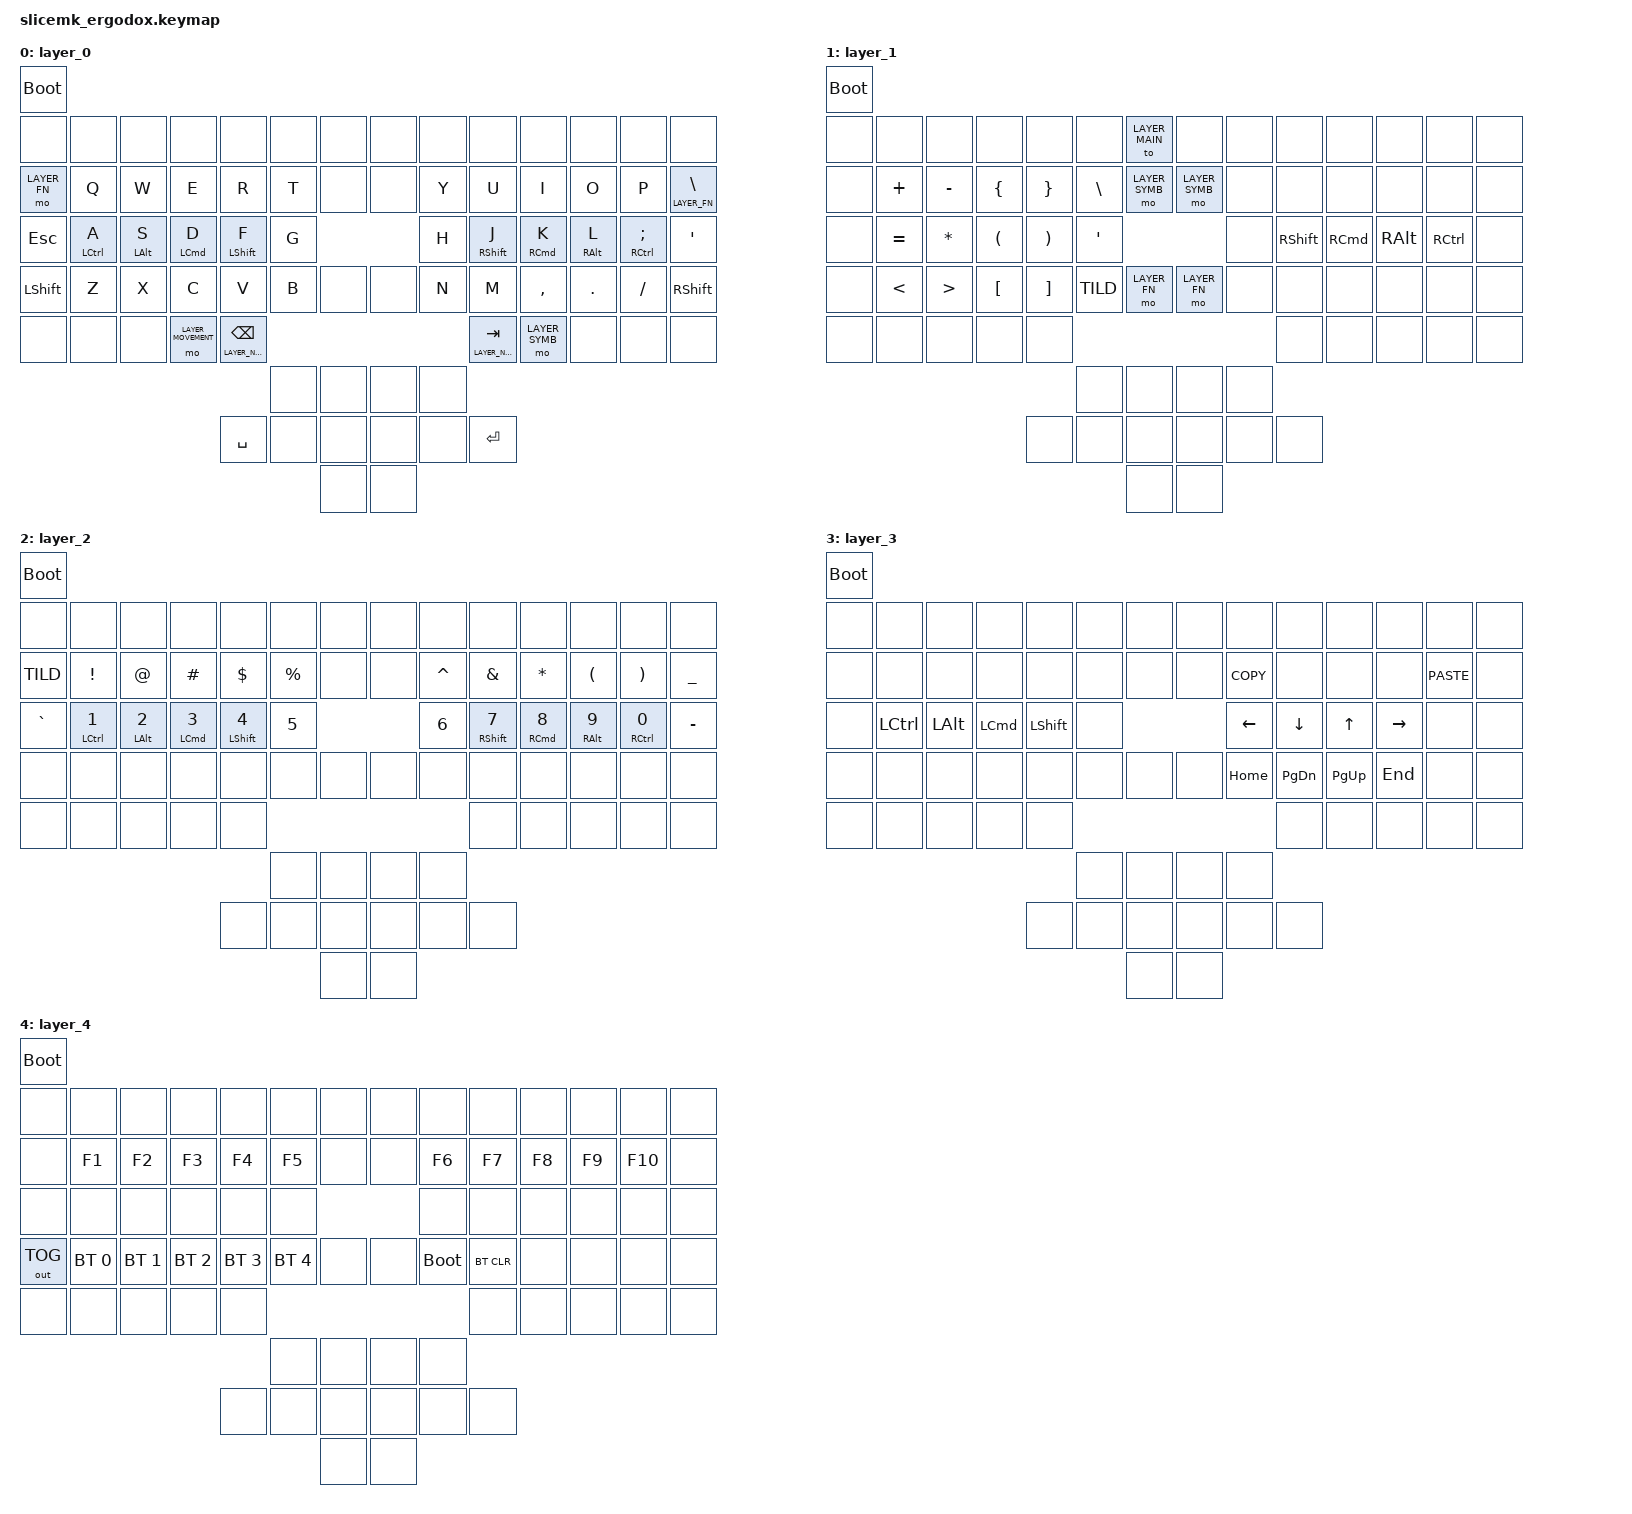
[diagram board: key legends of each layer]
#include <behaviors.dtsi>
#include <dt-bindings/zmk/bt.h>
#include <dt-bindings/zmk/keys.h>
#include <dt-bindings/zmk/outputs.h>
#include <dt-bindings/zmk/rgb.h>

#define LAYER_MAIN 0
#define LAYER_SYMB 1
#define LAYER_NUMROW 2
#define LAYER_MOVEMENT 3
#define LAYER_FN 4

&mt {
	tapping-term-ms = <600>;
	flavor = "balanced";
};

/ {
	keymap {
		compatible = "zmk,keymap";
		layer_0 {
			bindings = <
				&bootloader
				&none          &none              &none          &none              &none                 &none &none &none &none &none                &none               &none           &none                       &none
				&mo LAYER_FN   &kp Q              &kp W          &kp E              &kp R                 &kp T &none &none &kp Y &kp U                &kp I               &kp O           &kp P                       &lt LAYER_FN BACKSLASH
				&kp ESC        &mt LEFT_CONTROL A &mt LEFT_ALT S &mt LEFT_COMMAND D &mt LEFT_SHIFT F      &kp G             &kp H &mt RIGHT_SHIFT J    &mt RIGHT_COMMAND K &mt RIGHT_ALT L &mt RIGHT_CONTROL SEMICOLON &kp QUOT
				&kp LEFT_SHIFT &kp Z              &kp X          &kp C              &kp V                 &kp B &none &none &kp N &kp M                &kp CMMA            &kp DOT         &kp FSLH                    &kp RIGHT_SHIFT
				&none          &none              &none          &mo LAYER_MOVEMENT &lt LAYER_NUMROW BSPC                         &lt LAYER_NUMROW TAB &mo LAYER_SYMB      &none           &none                       &none
				                                                                                          &none &none &none &none
				                                                                    &kp SPACE             &none &none &none &none &kp RET
				                                                                                                &none &none
			>;
		};
		layer_1 {
			bindings = <
				&bootloader
				&none &none     &none     &none    &none    &none         &to LAYER_MAIN &none          &none &none           &none             &none         &none             &none
				&none &kp PLUS  &kp MINUS &kp LBRC &kp RBRC &kp BACKSLASH &mo LAYER_SYMB &mo LAYER_SYMB &none &none           &none             &none         &none             &none
				&none &kp EQUAL &kp STAR  &kp LPAR &kp RPAR &kp QUOT                                    &none &kp RIGHT_SHIFT &kp RIGHT_COMMAND &kp RIGHT_ALT &kp RIGHT_CONTROL &none
				&none &kp LT    &kp GT    &kp LBKT &kp RBKT &kp TILD      &mo LAYER_FN   &mo LAYER_FN   &none &none           &none             &none         &none             &none
				&none &none     &none     &none    &none                                                      &none           &none             &none         &none             &none
				                                            &none         &none          &none          &none
				                                   &none    &none         &none          &none          &none &none
				                                                          &none          &none
			>;
		};
		layer_2 {
			bindings = <
				&bootloader
				&none     &none               &none           &none               &none             &none       &none &none &none     &none              &none                &none            &none                &none
				&kp TILD  &kp EXCL            &kp AT          &kp POUND           &kp DOLLAR        &kp PERCENT &none &none &kp CARET &kp AMPERSAND      &kp STAR             &kp LPAR         &kp RPAR             &kp UNDER
				&kp GRAVE &mt LEFT_CONTROL N1 &mt LEFT_ALT N2 &mt LEFT_COMMAND N3 &mt LEFT_SHIFT N4 &kp N5                  &kp N6    &mt RIGHT_SHIFT N7 &mt RIGHT_COMMAND N8 &mt RIGHT_ALT N9 &mt RIGHT_CONTROL N0 &kp MINUS
				&none     &none               &none           &none               &none             &none       &none &none &none     &none              &none                &none            &none                &none
				&none     &none               &none           &none               &none                                               &none              &none                &none            &none                &none
				                                                                                    &none       &none &none &none
				                                                                  &none             &none       &none &none &none     &none
				                                                                                                &none &none
			>;
		};
		layer_3 {
			bindings = <
				&bootloader
				&none &none            &none        &none            &none          &none &none &none &none      &none         &none     &none     &none       &none
				&none &none            &none        &none            &none          &none &none &none &kp K_COPY &none         &none     &none     &kp K_PASTE &none
				&none &kp LEFT_CONTROL &kp LEFT_ALT &kp LEFT_COMMAND &kp LEFT_SHIFT &none             &kp LEFT   &kp DOWN      &kp UP    &kp RIGHT &none       &none
				&none &none            &none        &none            &none          &none &none &none &kp HOME   &kp PAGE_DOWN &kp PG_UP &kp END   &none       &none
				&none &none            &none        &none            &none                                       &none         &none     &none     &none       &none
				                                                                    &none &none &none &none
				                                                     &none          &none &none &none &none      &none
				                                                                          &none &none
			>;
		};
		layer_4 {
			bindings = <
				&bootloader
				&none        &none        &none        &none        &none        &none        &none &none &none       &none      &none  &none  &none   &none
				&none        &kp F1       &kp F2       &kp F3       &kp F4       &kp F5       &none &none &kp F6      &kp F7     &kp F8 &kp F9 &kp F10 &none
				&none        &none        &none        &none        &none        &none                    &none       &none      &none  &none  &none   &none
				&out OUT_TOG &bt BT_SEL 0 &bt BT_SEL 1 &bt BT_SEL 2 &bt BT_SEL 3 &bt BT_SEL 4 &none &none &bootloader &bt BT_CLR &none  &none  &none   &none
				&none        &none        &none        &none        &none                                             &none      &none  &none  &none   &none
				                                                                 &none        &none &none &none
				                                                    &none        &none        &none &none &none       &none
				                                                                              &none &none
			>;
		};
	};

};
